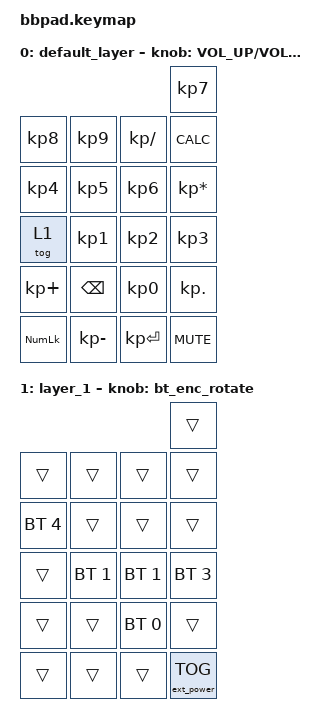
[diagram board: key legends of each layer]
/*
 * Copyright (c) 2023 The ZMK Contributors
 *
 * SPDX-License-Identifier: MIT
 */

#include <behaviors.dtsi>
#include <dt-bindings/zmk/bt.h>
#include <dt-bindings/zmk/ext_power.h>
#include <dt-bindings/zmk/keys.h>

// Remove this node if you didn't build with an encoder.
&encoder {
    status = "okay";
};

/ {
    behaviors {
        bt_enc_rotate: bt_rotate {
            compatible = "zmk,behavior-sensor-rotate";
            #sensor-binding-cells = <0>;
            bindings = <&bt BT_NXT>, <&bt BT_PRV>;
        };
    };

    keymap {
        compatible = "zmk,keymap";

        default_layer {
            bindings = <
                &kp KP_N7  &kp KP_N8  &kp KP_N9   &kp KP_SLASH     &kp K_CALC
                &kp KP_N4  &kp KP_N5  &kp KP_N6   &kp KP_MULTIPLY  &tog 1
                &kp KP_N1  &kp KP_N2  &kp KP_N3   &kp KP_PLUS      &kp BSPC
                &kp KP_N0  &kp KP_DOT &kp KP_NUM  &kp KP_MINUS     &kp KP_ENTER  &kp C_MUTE
            >;
            sensor-bindings = <&inc_dec_kp C_VOL_UP C_VOL_DN>;
        };

        layer_1 {
            bindings = <
                &trans        &trans        &trans        &trans  &trans
                &bt BT_SEL 4  &trans        &trans        &trans  &trans
                &bt BT_SEL 1  &bt BT_SEL 1  &bt BT_SEL 3  &trans  &trans
                &bt BT_SEL 0  &trans        &trans        &trans  &trans  &ext_power EP_TOG
            >;
            sensor-bindings = <&bt_enc_rotate>;
        };
    };
};
